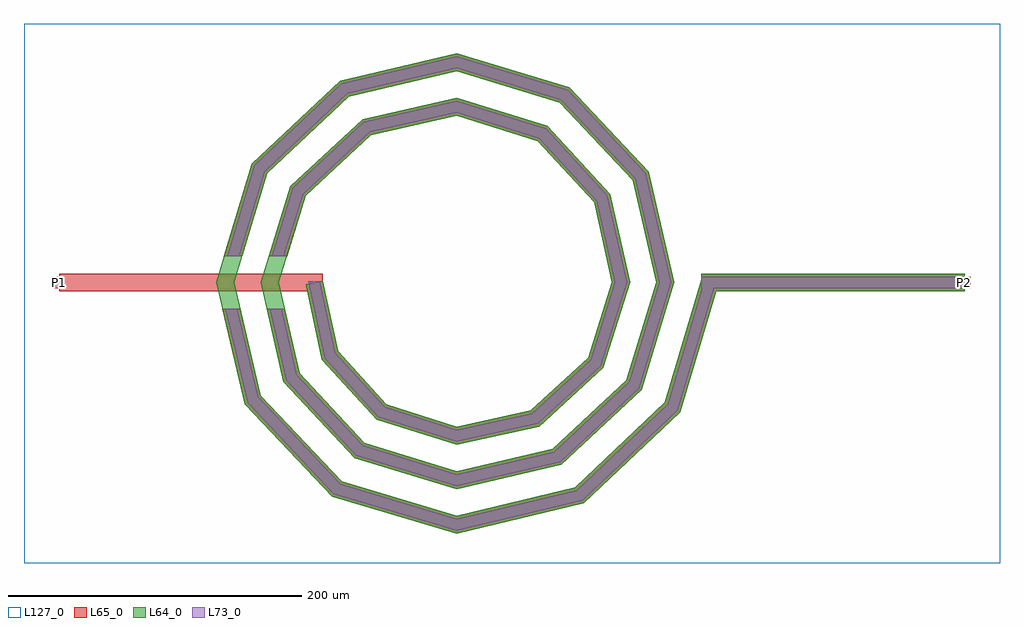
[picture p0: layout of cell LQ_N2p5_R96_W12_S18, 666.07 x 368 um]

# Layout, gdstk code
import gdstk
lib = gdstk.Library(unit=1e-6, precision=1e-09)
def R(c, l, rs):  # rectangles x0, y0, x1, y1
    for r in rs: c.add(gdstk.rectangle(r[:2], r[2:], *l))
def P(c, l, *ps):  # polygons
    for p in ps: c.add(gdstk.Polygon(p, *l))
L64_0 = (64, 0)
L65_0 = (65, 0)
L73_0 = (73, 0)
L127_0 = (127, 0)

lq_n2p5_r96_w12_s18 = lib.new_cell('LQ_N2p5_R96_W12_S18')
R(lq_n2p5_r96_w12_s18, L64_0, [(166.963,-6,346.963,6)])
P(lq_n2p5_r96_w12_s18, L64_0, [(-80.762,-46.967),(-47.728,-83.242),(0.28,-98.482),(50.742,-87.341),(89.801,-51.538),(106.067,0.261),(93.919,54.519),(55.346,96.361),(0.244,113.653),(-58.298,100.496),(-102.923,59.152),(-121.238,0.23),(-107.073,-62.079),(-62.956,-109.486),(0.217,-128.824),(65.861,-113.648),(116.049,-66.76),(136.41,0.205),(120.223,69.644),(70.562,122.613),(0.195,143.996),(-73.428,126.798),(-129.178,74.363),(-151.582,0.186),(-133.372,-77.213),(-78.164,-135.743),(0.177,-159.167),(80.999,-139.946),(142.309,-81.963),(167.212,1.712),(178.714,-1.712),(152.892,-88.471),(86.906,-150.875),(0.177,-171.586),(-84.685,-146.318),(-144.31,-83.106),(-164,0.186),(-139.744,80.899),(-79.305,137.744),(0.195,156.414),(77.114,133.169),(131.179,75.503),(148.827,0.205),(126.594,-73.33),(71.7,-124.615),(0.217,-141.241),(-69.548,-120.018),(-118.051,-67.896),(-133.655,0.23),(-113.441,65.766),(-64.091,111.488),(0.244,126.068),(61.986,106.863),(104.925,60.284),(118.481,0.261),(100.284,-58.207),(56.475,-98.364),(0.28,-110.894),(-54.431,-93.704),(-91.804,-52.664),(-102.965,-1.273),(-91.239,1.273)])
R(lq_n2p5_r96_w12_s18, L65_0, [(-271.102,-6,-91.102,6), (166.963,-6,346.963,6), (-275.102,-4,-267.102,4), (342.963,-4,350.963,4)])
P(lq_n2p5_r96_w12_s18, L65_0, [(-133.372,-77.213),(-78.164,-135.743),(0.177,-159.168),(80.999,-139.946),(142.309,-81.964),(167.212,1.712),(178.714,-1.712),(152.892,-88.471),(86.907,-150.875),(0.177,-171.586),(-84.685,-146.318),(-144.31,-83.106),(-159.701,-18),(-147.37,-18)],
  [(-107.073,-62.079),(-62.956,-109.486),(0.217,-128.824),(65.861,-113.648),(116.049,-66.76),(136.41,0.205),(120.223,69.644),(70.562,122.613),(0.195,143.996),(-73.428,126.798),(-129.178,74.363),(-146.116,18),(-158.647,18),(-139.744,80.899),(-79.305,137.744),(0.195,156.414),(77.114,133.169),(131.179,75.503),(148.827,0.205),(126.594,-73.33),(71.7,-124.615),(0.217,-141.241),(-69.548,-120.018),(-118.051,-67.897),(-129.479,-18),(-117.168,-18)],
  [(-47.729,-83.242),(0.28,-98.482),(50.742,-87.341),(89.801,-51.538),(106.067,0.261),(93.919,54.519),(55.346,96.361),(0.244,113.653),(-58.298,100.496),(-102.923,59.152),(-115.616,18),(-128.173,18),(-113.441,65.766),(-64.091,111.488),(0.244,126.068),(61.986,106.863),(104.925,60.284),(118.481,0.261),(100.284,-58.207),(56.475,-98.364),(0.28,-110.894),(-54.431,-93.704),(-91.804,-52.664),(-102.965,-1.273),(-91.239,1.273),(-80.762,-46.967)])
R(lq_n2p5_r96_w12_s18, L73_0, [(166.963,-4,346.963,4)])
P(lq_n2p5_r96_w12_s18, L73_0, [(-135.195,-78.196),(-79.25,-137.506),(0.118,-161.237),(81.984,-141.767),(144.073,-83.048),(169.129,1.141),(176.797,-1.141),(151.128,-87.386),(85.922,-149.054),(0.118,-169.517),(-83.598,-144.556),(-142.487,-82.124),(-157.646,-18),(-149.425,-18)],
  [(-108.902,-63.048),(-64.055,-111.241),(0.145,-130.894),(66.834,-115.476),(117.807,-67.855),(138.48,0.137),(122.049,70.621),(71.654,124.373),(0.13,146.065),(-74.408,128.622),(-130.939,75.452),(-148.205,18),(-156.558,18),(-137.983,79.81),(-78.326,135.92),(0.13,154.344),(76.022,131.41),(129.353,74.527),(146.758,0.137),(124.836,-72.235),(70.727,-122.787),(0.145,-139.172),(-68.449,-118.262),(-116.221,-66.927),(-127.427,-18),(-119.22,-18)],
  [(-48.846,-84.985),(0.187,-100.551),(51.697,-89.178),(91.548,-52.65),(108.136,0.174),(95.754,55.48),(56.453,98.112),(0.163,115.722),(-59.264,102.328),(-104.676,60.254),(-117.709,18),(-126.081,18),(-111.688,64.664),(-63.126,109.656),(0.163,123.999),(60.879,105.113),(103.091,59.323),(116.412,0.174),(98.537,-57.096),(55.52,-96.527),(0.187,-108.826),(-53.314,-91.96),(-89.964,-51.714),(-101.011,0.849),(-93.193,0.849),(-82.602,-47.917)])
R(lq_n2p5_r96_w12_s18, L127_0, [(-295.102,-191.586,370.963,176.414)])
lq_n2p5_r96_w12_s18.add(gdstk.Label('P2', (346.963,0), layer=65, texttype=0))
lq_n2p5_r96_w12_s18.add(gdstk.Label('P1', (-271.102,0), layer=65, texttype=0))
lq_n2p5_r96_w12_s18.add(gdstk.Label('P2', (350.963,0), layer=145, texttype=0))
lq_n2p5_r96_w12_s18.add(gdstk.Label('P1', (-275.102,0), layer=145, texttype=0))

lib.write_gds('LQ_N2p5_R96_W12_S18.gds')
